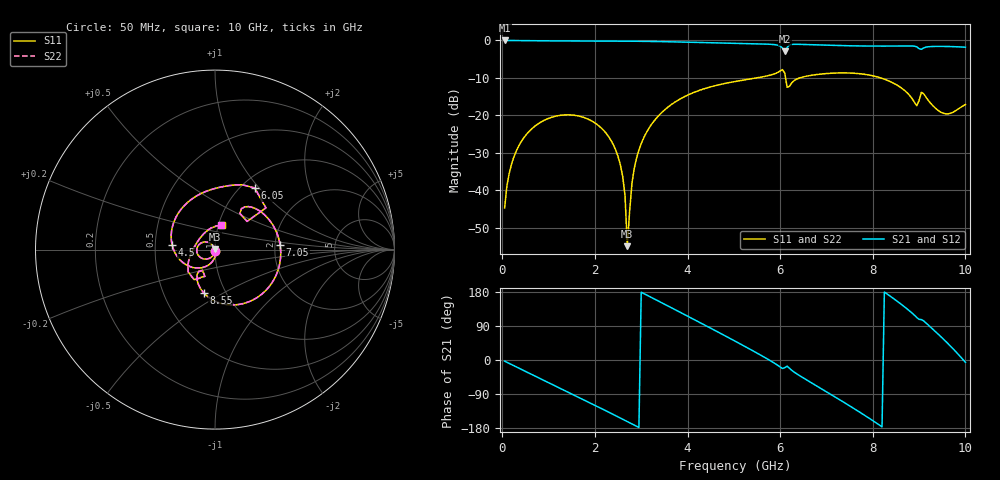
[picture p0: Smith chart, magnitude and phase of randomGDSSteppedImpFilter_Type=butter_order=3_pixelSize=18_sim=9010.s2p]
! freq	dB(S11)	phase(S11)	dB(S12)	phase(S12)
!  dB(S21)	phase(S21)	dB(S22)	phase(S22)
!S-par simulation data
#  GHz  S  DB  R 50
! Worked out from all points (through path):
!   200 points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, 50 MHz to 10 GHz, reference 50 ohm
!   highest |S21| = 0.00 dB at 50 MHz (marker M1); lowest = -2.9 dB at 6.1 GHz (marker M2)
!   group delay of S21, straight-line fit = 191 ps
!   lowest |S11| = -54.9 dB at 2.7 GHz (marker M3), VSWR 1.00, Z = 50 + j0.179 ohm
!   |S11| at or under -10 dB: start of sweep to 5.485 GHz; 6.117 GHz to 6.421 GHz (303.9 MHz wide, 4.85 % of centre); 8.172 GHz to end of sweep
!   |S22| runs from -55.0 to -7.8 dB; largest |S21 - S12| = 0
!   S11 on the Smith chart (normalised r, x): 50 MHz: 1.00, -0.01; 4.5 GHz: 0.61, +0.04; 6.05 GHz: 1.15, +0.95; 7.05 GHz: 2.13, +0.12; 8.55 GHz: 0.79, -0.40; 10 GHz: 1.04, +0.28
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0.05  -44.67 -91.6  -0.00 -3.0  -0.00 -3.0  -44.67 -91.6
0.2  -32.95 -101.2  -0.03 -12.1  -0.03 -12.1  -32.95 -101.2
0.55  -24.64 -123.3  -0.06 -33.0  -0.06 -33.0  -24.64 -123.3
1.75  -20.49 164.4  -0.16 -104.6  -0.16 -104.6  -20.49 164.6
2.5  -30.96 118.2  -0.18 -150.1  -0.18 -150.1  -30.96 119.4
2.65  -41.29 107.1  -0.19 -159.4  -0.19 -159.4  -41.28 111.5
2.7  -54.85 80.8  -0.20 -162.5  -0.20 -162.5  -55.03 125.7
2.8  -38.07 -77.6  -0.20 -168.7  -0.20 -168.7  -38.08 -80.9
2.9  -31.33 -84.9  -0.22 -174.9  -0.22 -174.9  -31.33 -86.4
3.4  -19.75 -116.7  -0.30 153.8  -0.30 153.8  -19.75 -117.1
4.5  -12.37 173.5  -0.61 83.9  -0.61 83.9  -12.37 173.3
5.05  -10.90 137.8  -0.76 48.3  -0.76 48.3  -10.90 137.7
5.65  -9.63 97.4  -0.95 8.0  -0.95 8.0  -9.63 97.3
6.05  -7.78 57.2  -2.02 -22.5  -2.02 -22.5  -7.78 57.2
6.1  -8.71 39.4  -2.93 -20.2  -2.93 -20.2  -8.71 39.3
6.7  -9.24 28.3  -1.14 -62.0  -1.14 -62.0  -9.24 28.3
7.05  -8.79 3.9  -1.28 -87.5  -1.28 -87.5  -8.78 4.0
7.65  -8.79 -38.3  -1.46 -132.4  -1.46 -132.4  -8.79 -38.2
8.35  -10.82 -89.7  -1.50 170.8  -1.50 170.8  -10.81 -89.4
8.55  -12.11 -105.0  -1.47 153.0  -1.47 153.0  -12.10 -104.7
9.35  -18.04 -177.9  -1.59 75.4  -1.59 75.4  -17.97 -176.5
10  -17.10 74.3  -1.80 -6.2  -1.80 -6.2  -17.14 76.6
